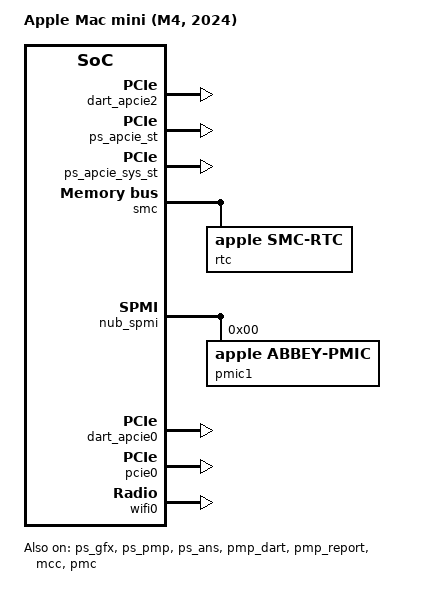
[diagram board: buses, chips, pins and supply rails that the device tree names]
// SPDX-License-Identifier: GPL-2.0+ OR MIT
/*
 * Apple Mac mini (M4, 2024)
 *
 * target-type: J773g
 *
 * Copyright The Asahi Linux Contributors
 */

/dts-v1/;

#include "t8132.dtsi"
#include "t8132-jxxx.dtsi"
#include <dt-bindings/gpio/gpio.h>
#include <dt-bindings/spmi/spmi.h>

/ {
	compatible = "apple,j773g", "apple,t8132", "apple,arm-platform";
	model = "Apple Mac mini (M4, 2024)";
	chassis-type = "desktop";

	aliases {
		ans = &nvme;
		ans-mbox = &ans_mbox;
		bluetooth0 = &bluetooth0;
		ethernet0 = &ethernet0;
		gpu = &gpu;
		pmu-primary = &pmic1;
		pmp = &pmp;
		sart-ans = &sart;
		spmi-primary = &nub_spmi;
		wifi0 = &wifi0;
	};

	chosen {
		linux-enablement-mac,disk-boot;
		/* J773g initially hands off only the PMP consumer. */
		linux-enablement-mac,dapf-handoff = "/arm-io/pmp";
		linux-enablement-mac,dapf-power-on-handoff = "/arm-io/pmp";
	};

	reserved-memory {
		gpu_ttbs: uat-ttbs {
			reg = <0 0 0 0>;
			no-map;
			status = "disabled";
		};

		gpu_pagetables: uat-pagetables {
			reg = <0 0 0 0>;
			no-map;
			status = "disabled";
		};

		gpu_handoff: uat-handoff {
			reg = <0 0 0 0>;
			no-map;
			status = "disabled";
		};

		gpu_shared_l2: uat-shared-l2 {
			reg = <0 0 0 0>;
			no-map;
			status = "disabled";
		};

		gpu_fw_text: gpu-fw-text {
			reg = <0 0 0 0>;
			no-map;
			status = "disabled";
		};

		gpu_fw_data: gpu-fw-data {
			reg = <0 0 0 0>;
			no-map;
			status = "disabled";
		};
	};
};

&soc {
	gfx_tvm: power-controller@380760800 {
		compatible = "apple,t8132-gfx-tvm";
		reg = <0x3 0x80760800 0x0 0x4>;
		#power-domain-cells = <0>;
	};

	gpu: gpu@302600000 {
		compatible = "apple,agx-t8132";
		reg = <0x3 0x02600000 0x0 0x4000>,
		      <0x3 0x00000000 0x0 0x4000000>;
		reg-names = "asc", "sgx";
		mboxes = <&agx_mbox>;
		power-domains = <&ps_gfx>;
		dma-noncoherent;
		apple,pmp = <&pmp>;
		apple,clpc = <&clpc>;
		memory-region = <&gpu_ttbs>, <&gpu_pagetables>, <&gpu_handoff>,
				<&gpu_shared_l2>, <&gpu_fw_text>, <&gpu_fw_data>;
		memory-region-names = "ttbs", "pagetables", "handoff",
				      "shared-l2", "fw-text", "fw-data";
	};

	agx_mbox: mailbox@302608000 {
		compatible = "apple,t8132-asc-mailbox", "apple,asc-mailbox-v4";
		reg = <0x3 0x02608000 0x0 0x4000>;
		apple,hold-rx-in-sleep;
		interrupt-parent = <&aic>;
		interrupts = <AIC_IRQ 993 IRQ_TYPE_LEVEL_HIGH>,
			     <AIC_IRQ 994 IRQ_TYPE_LEVEL_HIGH>,
			     <AIC_IRQ 995 IRQ_TYPE_LEVEL_HIGH>,
			     <AIC_IRQ 996 IRQ_TYPE_LEVEL_HIGH>;
		interrupt-names = "send-empty", "send-not-empty",
				  "recv-empty", "recv-not-empty";
		#mbox-cells = <0>;
	};

	dart_apcie1: iommu@491000000 {
		compatible = "apple,t8132-dart", "apple,t8110-dart";
		reg = <0x4 0x91000000 0x0 0xc000>;
		#iommu-cells = <1>;
		interrupt-parent = <&aic>;
		interrupts = <AIC_IRQ 1236 IRQ_TYPE_LEVEL_HIGH>;
		power-domains = <&ps_apcie_gp>;
		status = "disabled";
	};

	dart_apcie2: iommu@492000000 {
		compatible = "apple,t8132-dart", "apple,t8110-dart";
		reg = <0x4 0x92000000 0x0 0xc000>;
		#iommu-cells = <1>;
		interrupt-parent = <&aic>;
		interrupts = <AIC_IRQ 1250 IRQ_TYPE_LEVEL_HIGH>;
		power-domains = <&ps_apcie_gp>;
		status = "okay";
	};
};

&ps_gfx {
	status = "okay";
	power-domains = <&gfx_tvm>;
	apple,sleep-retained;
};

&ps_pmp {
	status = "okay";
};

&ps_pms_sram {
	status = "okay";
};

&ps_ans {
	status = "okay";
};

&ps_apcie_st {
	status = "okay";
};

&ps_apcie_sys_st {
	status = "okay";
};

&pmp_dart {
	status = "okay";
};

&pmp_report {
	status = "okay";
};

&pmp_mbox {
	status = "okay";
};

&pmp {
	apple,pmp-report = <&pmp_report>;
};

&mcc {
	status = "okay";
	apple,boot-dma-devices = <&pmp>;
};

&pmc {
	status = "okay";
	apple,static-voters = <3>;
};

/* m1n1 fills every address, interrupt and status below from the live ADT. */
&ans_mbox {
	status = "disabled";
};

&sart {
	status = "disabled";
};

&nvme {
	status = "disabled";
};

&smc_mbox {
	status = "okay";
};

&smc {
	status = "okay";

	rtc {
		compatible = "apple,smc-rtc";
		nvmem-cells = <&rtc_offset>;
		nvmem-cell-names = "rtc_offset";
	};

	reboot {
		compatible = "apple,t8132-smc-reboot", "apple,smc-reboot";
		nvmem-cells = <&shutdown_flag>, <&boot_stage>,
			      <&boot_error_count>, <&panic_count>;
		nvmem-cell-names = "shutdown_flag", "boot_stage",
				   "boot_error_count", "panic_count";
	};
};

&nub_spmi {
	status = "okay";

	pmic1: pmic@0 {
		compatible = "apple,abbey-pmic", "apple,spmi-nvmem";
		reg = <0x0 SPMI_USID>; /* Filled by m1n1. */

		nvmem-layout {
			compatible = "fixed-layout";
			#address-cells = <1>;
			#size-cells = <1>;

			rtc_offset: rtc-offset@2100 {
				reg = <0x2100 0x6>;
			};

			boot_stage: boot-stage@f801 {
				reg = <0xf801 0x1>;
			};

			boot_error_count: boot-error-count@f802,0 {
				reg = <0xf802 0x1>;
				bits = <0 4>;
			};

			panic_count: panic-count@f802,4 {
				reg = <0xf802 0x1>;
				bits = <4 4>;
			};

			shutdown_flag: shutdown-flag@f80f,3 {
				reg = <0xf80f 0x1>;
				bits = <3 1>;
			};
		};
	};
};

&dart_apcie0 {
	reg = <0x4 0x90000000 0x0 0xc000>;
	interrupts = <AIC_IRQ 1232 IRQ_TYPE_LEVEL_HIGH>;
	power-domains = <&ps_apcie_gp>;
	status = "okay";
};

&pcie0 {
	compatible = "apple,t8132-pcie", "apple,t6020-pcie";
	reg = <0x1c 0xb0000000 0x0 0x1000000>,
	      <0x4 0x94000000 0x0 0x4000>,
	      <0x4 0x90028000 0x0 0x4000>,
	      <0x4 0x91028000 0x0 0x4000>,
	      <0x4 0x92028000 0x0 0x4000>,
	      <0x4 0x97020000 0x0 0x4000>,
	      <0x4 0x97024000 0x0 0x4000>,
	      <0x4 0x97028000 0x0 0x4000>;
	reg-names = "config", "rc", "port0", "port1", "port2",
		    "phy0", "phy1", "phy2";
	interrupts = <AIC_IRQ 1231 IRQ_TYPE_LEVEL_HIGH>,
		     <AIC_IRQ 1240 IRQ_TYPE_LEVEL_HIGH>,
		     <AIC_IRQ 1249 IRQ_TYPE_LEVEL_HIGH>;
	iommu-map = <0x100 &dart_apcie0 1 1>,
		    <0x200 &dart_apcie2 1 1>;
	bus-range = <0 3>;
	power-domains = <&ps_apcie_phy_sw>;
	status = "okay";

	pcie0_port1: pci@1,0 {
		device_type = "pci";
		reg = <0x800 0x0 0x0 0x0 0x0>;
		reset-gpios = <&pinctrl_ap 164 GPIO_ACTIVE_LOW>;
		#address-cells = <3>;
		#size-cells = <2>;
		ranges;
		interrupt-controller;
		#interrupt-cells = <1>;
		interrupt-map-mask = <0 0 0 7>;
		interrupt-map = <0 0 0 1 &pcie0_port1 0 0 0 0>,
				<0 0 0 2 &pcie0_port1 0 0 0 1>,
				<0 0 0 3 &pcie0_port1 0 0 0 2>,
				<0 0 0 4 &pcie0_port1 0 0 0 3>;
		status = "disabled";
	};

	pcie0_port2: pci@2,0 {
		device_type = "pci";
		reg = <0x1000 0x0 0x0 0x0 0x0>;
		reset-gpios = <&pinctrl_ap 165 GPIO_ACTIVE_LOW>;
		bus-range = <2 2>;
		#address-cells = <3>;
		#size-cells = <2>;
		ranges;
		interrupt-controller;
		#interrupt-cells = <1>;
		interrupt-map-mask = <0 0 0 7>;
		interrupt-map = <0 0 0 1 &pcie0_port2 0 0 0 0>,
				<0 0 0 2 &pcie0_port2 0 0 0 1>,
				<0 0 0 3 &pcie0_port2 0 0 0 2>,
				<0 0 0 4 &pcie0_port2 0 0 0 3>;

		ethernet0: ethernet@0,0 {
			reg = <0x20000 0x0 0x0 0x0 0x0>;
			local-mac-address = [00 00 00 00 00 00];
		};
	};
};

&port00 {
	reset-gpios = <&pinctrl_ap 163 GPIO_ACTIVE_LOW>;
	pwren-gpios = <&smc_gpio 19 GPIO_ACTIVE_HIGH>;

	wifi0: wifi@0,0 {
		compatible = "pci14e4,4434";
		reg = <0x10000 0x0 0x0 0x0 0x0>;
		brcm,board-type = "apple,garden";
		local-mac-address = [00 00 00 00 00 00];
		apple,antenna-sku = "XX";
	};

	bluetooth0: bluetooth@0,1 {
		compatible = "pci14e4,5f72";
		reg = <0x10100 0x0 0x0 0x0 0x0>;
		brcm,board-type = "apple,garden";
		local-bd-address = [00 00 00 00 00 00];
	};
};

/*
 * Keep the power-domains used for the HDMI port on.
 */
&framebuffer0 {
	power-domains = <&ps_dispext0_fe>, <&ps_dptx_phy>;
};
